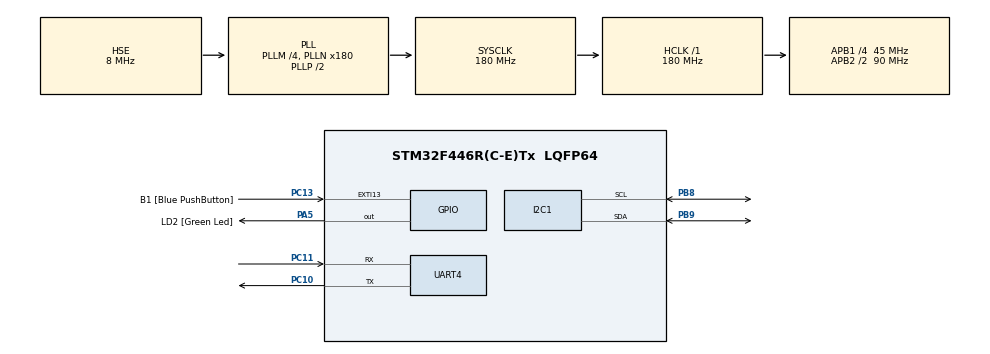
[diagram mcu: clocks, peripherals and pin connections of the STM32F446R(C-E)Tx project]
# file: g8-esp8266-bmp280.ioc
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Dma.Request0=UART4_RX
Dma.UART4_RX.0.Direction=DMA_PERIPH_TO_MEMORY
Dma.UART4_RX.0.FIFOMode=DMA_FIFOMODE_DISABLE
Dma.UART4_RX.0.Instance=DMA1_Stream2
Dma.UART4_RX.0.MemDataAlignment=DMA_MDATAALIGN_BYTE
Dma.UART4_RX.0.MemInc=DMA_MINC_ENABLE
Dma.UART4_RX.0.Mode=DMA_CIRCULAR
Dma.UART4_RX.0.PeriphDataAlignment=DMA_PDATAALIGN_BYTE
Dma.UART4_RX.0.PeriphInc=DMA_PINC_DISABLE
Dma.UART4_RX.0.Priority=DMA_PRIORITY_LOW
I2C1.I2C_Mode=I2C_Fast
Mcu.Family=STM32F4
Mcu.Name=STM32F446R(C-E)Tx
Mcu.Package=LQFP64
NVIC.DMA1_Stream2_IRQn=true\:0\:0\:false\:false\:true\:false
NVIC.PriorityGroup=NVIC_PRIORITYGROUP_0
PA13.GPIO_Label=TMS
PA13.Mode=Serial_Wire
PA13.Signal=SYS_JTMS-SWDIO
PA14.GPIO_Label=TCK
PA14.Mode=Serial_Wire
PA14.Signal=SYS_JTCK-SWCLK
PA5.GPIO_Label=LD2 [Green Led]
PA5.Signal=GPIO_Output
PB3.GPIO_Label=SWO
PB3.Signal=SYS_JTDO-SWO
PB8.Mode=I2C
PB8.Signal=I2C1_SCL
PB9.Mode=I2C
PB9.Signal=I2C1_SDA
PC10.Mode=Asynchronous
PC10.Signal=UART4_TX
PC11.Mode=Asynchronous
PC11.Signal=UART4_RX
PC13.GPIO_Label=B1 [Blue PushButton]
PC13.GPIO_ModeDefaultEXTI=GPIO_MODE_IT_FALLING
PC13.Signal=GPXTI13
PC14-OSC32_IN.Mode=LSE-External-Oscillator
PC14-OSC32_IN.Signal=RCC_OSC32_IN
PC15-OSC32_OUT.Mode=LSE-External-Oscillator
PC15-OSC32_OUT.Signal=RCC_OSC32_OUT
PH0-OSC_IN.Mode=HSE-External-Oscillator
PH0-OSC_IN.Signal=RCC_OSC_IN
PH1-OSC_OUT.Mode=HSE-External-Oscillator
PH1-OSC_OUT.Signal=RCC_OSC_OUT
ProjectManager.HeapSize=0x200
ProjectManager.StackSize=0x400
ProjectManager.TargetToolchain=SW4STM32
RCC.48MHZClocksFreq_Value=84000000
RCC.AHBFreq_Value=180000000
RCC.APB1CLKDivider=RCC_HCLK_DIV4
RCC.APB1Freq_Value=45000000
RCC.APB1TimFreq_Value=90000000
RCC.APB2CLKDivider=RCC_HCLK_DIV2
RCC.APB2Freq_Value=90000000
RCC.APB2TimFreq_Value=180000000
RCC.CortexFreq_Value=180000000
RCC.FLatency-AdvancedSettings=FLASH_LATENCY_5
RCC.HCLKFreq_Value=180000000
RCC.HSE_VALUE=8000000
RCC.HSI_VALUE=16000000
RCC.PLLM=4
RCC.PLLN=180
RCC.PLLSourceVirtual=RCC_PLLSOURCE_HSE
RCC.SYSCLKFreq_VALUE=180000000
RCC.SYSCLKSource=RCC_SYSCLKSOURCE_PLLCLK
RCC.USBFreq_Value=180000000
RCC.VCOOutputFreq_Value=360000000
UART4.VirtualMode=Asynchronous
board=NUCLEO-F446RE

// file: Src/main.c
/**
  ******************************************************************************
  * @file           : main.c
  * @brief          : Main program body
  ******************************************************************************
  ** This notice applies to any and all portions of this file
  * that are not between comment pairs USER CODE BEGIN and
  * USER CODE END. Other portions of this file, whether
  * inserted by the user or by software development tools
  * are owned by their respective copyright owners.
  *
  * COPYRIGHT(c) 2018 STMicroelectronics
  *
  * Redistribution and use in source and binary forms, with or without modification,
  * are permitted provided that the following conditions are met:
  *   1. Redistributions of source code must retain the above copyright notice,
  *      this list of conditions and the following disclaimer.
  *   2. Redistributions in binary form must reproduce the above copyright notice,
  *      this list of conditions and the following disclaimer in the documentation
  *      and/or other materials provided with the distribution.
  *   3. Neither the name of STMicroelectronics nor the names of its contributors
  *      may be used to endorse or promote products derived from this software
  *      without specific prior written permission.
  *
  * THIS SOFTWARE IS PROVIDED BY THE COPYRIGHT HOLDERS AND CONTRIBUTORS "AS IS"
  * AND ANY EXPRESS OR IMPLIED WARRANTIES, INCLUDING, BUT NOT LIMITED TO, THE
  * IMPLIED WARRANTIES OF MERCHANTABILITY AND FITNESS FOR A PARTICULAR PURPOSE ARE
  * DISCLAIMED. IN NO EVENT SHALL THE COPYRIGHT HOLDER OR CONTRIBUTORS BE LIABLE
  * FOR ANY DIRECT, INDIRECT, INCIDENTAL, SPECIAL, EXEMPLARY, OR CONSEQUENTIAL
  * DAMAGES (INCLUDING, BUT NOT LIMITED TO, PROCUREMENT OF SUBSTITUTE GOODS OR
  * SERVICES; LOSS OF USE, DATA, OR PROFITS; OR BUSINESS INTERRUPTION) HOWEVER
  * CAUSED AND ON ANY THEORY OF LIABILITY, WHETHER IN CONTRACT, STRICT LIABILITY,
  * OR TORT (INCLUDING NEGLIGENCE OR OTHERWISE) ARISING IN ANY WAY OUT OF THE USE
  * OF THIS SOFTWARE, EVEN IF ADVISED OF THE POSSIBILITY OF SUCH DAMAGE.
  *
  ******************************************************************************
  */
#include "main.h"
#include "stm32f4xx_hal.h"
#include "dma.h"
#include "i2c.h"
#include "usart.h"
#include "gpio.h"

/* USER CODE BEGIN Includes */
#include "lcd.h"
#include "ringbuffer_dma.h"
#include <string.h>
#include "BMP280.h"

/* USER CODE END Includes */

/* USER CODE BEGIN PV */
/* Private variables ---------------------------------------------------------*/

/* Ringbuffer for Rx messages */
RingBuffer_DMA rx_buf;
/* Array for DMA to save Rx bytes */
#define BUF_SIZE 4096
uint8_t rx[BUF_SIZE];
uint32_t rx_count = 0;
/* Array for received commands */
char cmd[BUF_SIZE];
uint8_t icmd = 0;

/* ESP8266 variables */
#define SERVER_ADDRESS		"techmaker.ua"
#define SERVER_TOKEN		"x1488uasbw"				// At least 10 symbols
#define WIFI_SSID			"EDUSPACE"
#define WIFI_PASS			"chasopys"
char wifi_cmd[512];

/* BMP280 variables */
double temp, press, alt;
int8_t com_rslt;
#define QNH 1023	// QNH (Sealevel) pressure for Zhulyany (UKKK)
					//http://www.aviador.es/Weather/Meteogram/UKKK#tabs-2

/* USER CODE END PV */

void SystemClock_Config(void);

/* USER CODE BEGIN PFP */
/* Private function prototypes -----------------------------------------------*/

void UART_Read(void);

/* USER CODE END PFP */

int main(void)
{

  /* MCU Configuration----------------------------------------------------------*/

  /* Reset of all peripherals, Initializes the Flash interface and the Systick. */
  HAL_Init();

  /* Configure the system clock */
  SystemClock_Config();

  /* Initialize all configured peripherals */
  MX_GPIO_Init();
  MX_DMA_Init();
  MX_I2C1_Init();
  MX_UART4_Init();
  /* USER CODE BEGIN 2 */
  LCD_Init();

  	/* Init RingBuffer_DMA object */
  	RingBuffer_DMA_Init(&rx_buf, huart4.hdmarx, rx, BUF_SIZE);
  	/* Start UART4 DMA Reception */
  	HAL_UART_Receive_DMA(&huart4, rx, BUF_SIZE);

  	/* Start BMP280 and change settings */
  	LCD_Printf("Connecting to BMP280...\n");
  	bmp280_t bmp280 = {.i2c_handle = &hi2c1};
  	com_rslt = BMP280_init(&bmp280);
  	com_rslt += BMP280_set_power_mode(BMP280_NORMAL_MODE);
  	com_rslt += BMP280_set_work_mode(BMP280_STANDARD_RESOLUTION_MODE);
  	com_rslt += BMP280_set_standby_durn(BMP280_STANDBY_TIME_1_MS);
  	if (com_rslt != SUCCESS) {
  		LCD_Printf("Check BMP280 connection!\nProgram terminated");
  		return 0;
  	}
  	LCD_Printf("Connection successful!\n");

  	/* CONNECT TO WIFI ROUTER */
  	/* Simple ping */
  	sprintf(wifi_cmd, "AT+RST\r\n");
  	HAL_UART_Transmit(&huart4, (uint8_t *)wifi_cmd, strlen(wifi_cmd), 1000);
  	HAL_Delay(500);
  	UART_Read();
  	/* Turn on message echo */
  	sprintf(wifi_cmd, "ATE1\r\n");
  	HAL_UART_Transmit(&huart4, (uint8_t *)wifi_cmd, strlen(wifi_cmd), 1000);
  	HAL_Delay(100);
  	UART_Read();
  	/* Display version info */
  	sprintf(wifi_cmd, "AT+GMR\r\n");
  	HAL_UART_Transmit(&huart4, (uint8_t *)wifi_cmd, strlen(wifi_cmd), 1000);
  	HAL_Delay(500);
  	UART_Read();
  	/* Set to client mode */
  	sprintf(wifi_cmd, "AT+CWMODE=1\r\n");
  	HAL_UART_Transmit(&huart4, (uint8_t *)wifi_cmd, strlen(wifi_cmd), 1000);
  	HAL_Delay(100);
  	UART_Read();
  	HAL_Delay(2000);
  	/* Connect to network */
  	sprintf(wifi_cmd, "AT+CWJAP_CUR=\"%s\",\"%s\"\r\n", WIFI_SSID, WIFI_PASS);
  	HAL_UART_Transmit(&huart4, (uint8_t *)wifi_cmd, strlen(wifi_cmd), 1000);
  	HAL_Delay(10000);
  	UART_Read();
  	/* CONNECTED (hope so) */
  	/* Check for IP */
  	sprintf(wifi_cmd, "AT+CIFSR\r\n");
  	HAL_UART_Transmit(&huart4, (uint8_t *)wifi_cmd, strlen(wifi_cmd), 1000);
  	HAL_Delay(5000);
  	UART_Read();
  	/* Setup SSL */
  	sprintf(wifi_cmd, "AT+CIPSSLSIZE=4096\r\n");
  	HAL_UART_Transmit(&huart4, (uint8_t *)wifi_cmd, strlen(wifi_cmd), 1000);
  	HAL_Delay(500);
  	UART_Read();

  /* USER CODE END 2 */

  /* Infinite loop */
  /* USER CODE BEGIN WHILE */
  while (1)
  {
	  /* Get BMP280 data */
	  		BMP280_read_temperature_double(&temp);
	  		BMP280_read_pressure_double(&press);
	  		alt = BMP280_calculate_altitude(QNH*100);
	  		/* Create request string */

	  		char http_req[256];
	  				sprintf(http_req,
	  					"GET /plotter/update.php?token=%s&temp=%.1f&press=%.0f&alt=%.1f HTTP/1.1\r\nHost: techmaker.ua\r\n\r\n",
	  					SERVER_TOKEN, temp, press, alt);
	  				/* Connect to server */
	  				sprintf(wifi_cmd, "AT+CIPSTART=\"TCP\",\"%s\",80\r\n", SERVER_ADDRESS);
	  		HAL_UART_Transmit(&huart4, (uint8_t *)wifi_cmd, strlen(wifi_cmd), 1000);
	  		HAL_Delay(10000);
	  		UART_Read();
	  		/* Send data length (length of request) */
	  		sprintf(wifi_cmd, "AT+CIPSEND=%d\r\n", strlen(http_req));
	  		HAL_UART_Transmit(&huart4, (uint8_t *)wifi_cmd, strlen(wifi_cmd), 1000);
	  		HAL_Delay(200); // wait for ">"
	  		UART_Read();
	  		/* Send data */
	  		HAL_UART_Transmit(&huart4, (uint8_t *)http_req, strlen(http_req), 1000);
	  		HAL_Delay(1800);
	  		UART_Read();
	  		/* Disconnect from server */
	  		sprintf(wifi_cmd, "AT+CIPCLOSE\r\n");
	  		HAL_UART_Transmit(&huart4, (uint8_t *)wifi_cmd, strlen(wifi_cmd), 1000);
	  		HAL_Delay(1000);
	  		UART_Read();

  /* USER CODE END WHILE */

  }

}

void SystemClock_Config(void)
{

  RCC_OscInitTypeDef RCC_OscInitStruct;
  RCC_ClkInitTypeDef RCC_ClkInitStruct;

    /**Configure the main internal regulator output voltage
    */
  __HAL_RCC_PWR_CLK_ENABLE();

  __HAL_PWR_VOLTAGESCALING_CONFIG(PWR_REGULATOR_VOLTAGE_SCALE1);

    /**Initializes the CPU, AHB and APB busses clocks
    */
  RCC_OscInitStruct.OscillatorType = RCC_OSCILLATORTYPE_HSE;
  RCC_OscInitStruct.HSEState = RCC_HSE_ON;
  RCC_OscInitStruct.PLL.PLLState = RCC_PLL_ON;
  RCC_OscInitStruct.PLL.PLLSource = RCC_PLLSOURCE_HSE;
  RCC_OscInitStruct.PLL.PLLM = 4;
  RCC_OscInitStruct.PLL.PLLN = 180;
  RCC_OscInitStruct.PLL.PLLP = RCC_PLLP_DIV2;
  RCC_OscInitStruct.PLL.PLLQ = 2;
  RCC_OscInitStruct.PLL.PLLR = 2;
  if (HAL_RCC_OscConfig(&RCC_OscInitStruct) != HAL_OK)
  {
    _Error_Handler(__FILE__, __LINE__);
  }

    /**Activate the Over-Drive mode
    */
  if (HAL_PWREx_EnableOverDrive() != HAL_OK)
  {
    _Error_Handler(__FILE__, __LINE__);
  }

    /**Initializes the CPU, AHB and APB busses clocks
    */
  RCC_ClkInitStruct.ClockType = RCC_CLOCKTYPE_HCLK|RCC_CLOCKTYPE_SYSCLK
                              |RCC_CLOCKTYPE_PCLK1|RCC_CLOCKTYPE_PCLK2;
  RCC_ClkInitStruct.SYSCLKSource = RCC_SYSCLKSOURCE_PLLCLK;
  RCC_ClkInitStruct.AHBCLKDivider = RCC_SYSCLK_DIV1;
  RCC_ClkInitStruct.APB1CLKDivider = RCC_HCLK_DIV4;
  RCC_ClkInitStruct.APB2CLKDivider = RCC_HCLK_DIV2;

  if (HAL_RCC_ClockConfig(&RCC_ClkInitStruct, FLASH_LATENCY_5) != HAL_OK)
  {
    _Error_Handler(__FILE__, __LINE__);
  }

    /**Configure the Systick interrupt time
    */
  HAL_SYSTICK_Config(HAL_RCC_GetHCLKFreq()/1000);

    /**Configure the Systick
    */
  HAL_SYSTICK_CLKSourceConfig(SYSTICK_CLKSOURCE_HCLK);

  /* SysTick_IRQn interrupt configuration */
  HAL_NVIC_SetPriority(SysTick_IRQn, 0, 0);
}

/* USER CODE BEGIN 4 */
void UART_Read(void) {
	/* Check number of bytes in RingBuffer */
	rx_count = RingBuffer_DMA_Count(&rx_buf);
	/* Process each byte individually */
	while (rx_count--) {
		/* Read out one byte from RingBuffer */
		uint8_t b = RingBuffer_DMA_GetByte(&rx_buf);
		if (b == '\n') { /* If \n process command */
			/* Terminate string with \0 */
			cmd[icmd] = 0;
			icmd = 0;
			/* Display received messages */
			LCD_Printf("%s\n", cmd);
		} else if (b == '\r') { /* If \r skip */
			continue;
		} else { /* If regular character, put it into cmd[] */
			cmd[icmd++ % BUF_SIZE] = b;
		}
	}
}
/* USER CODE END 4 */

void _Error_Handler(char *file, int line)
{
  while(1)
  {
  }
}

/************************ (C) COPYRIGHT STMicroelectronics *****END OF FILE****/
